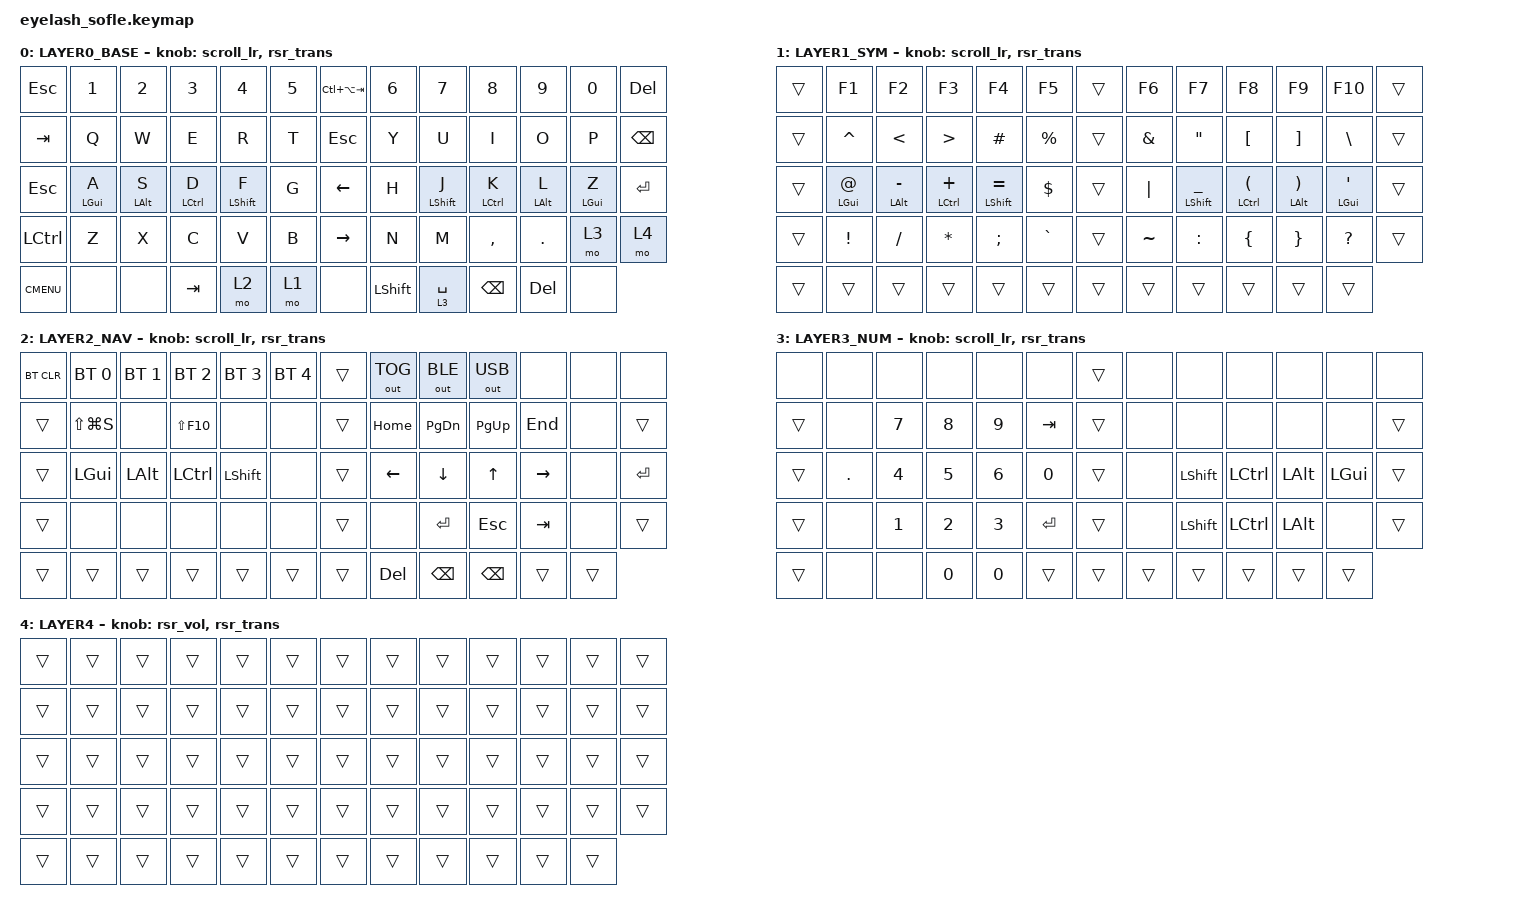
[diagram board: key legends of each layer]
#define ZMK_POINTING_DEFAULT_MOVE_VAL 1200  // 600
#define ZMK_POINTING_DEFAULT_SCRL_VAL 25   // 10

#include <input/processors.dtsi>
#include <zephyr/dt-bindings/input/input-event-codes.h>
#include <behaviors.dtsi>
#include <behaviors/runtime-sensor-rotate.dtsi>
#include <dt-bindings/zmk/bt.h>
#include <dt-bindings/zmk/keys.h>
#include <dt-bindings/zmk/outputs.h>
#include <dt-bindings/zmk/pointing.h>
#include <dt-bindings/zmk/rgb.h>

&mmv_input_listener { input-processors = <&zip_xy_scaler 2 1>; };

&msc_input_listener { input-processors = <&zip_scroll_scaler 2 1>; };

&msc {
    acceleration-exponent = <1>;      // 0
    time-to-max-speed-ms = <100>;       // 300
    delay-ms = <0>;                   // 0
};

&mmv {
    time-to-max-speed-ms = <500>;
    acceleration-exponent = <1>;
    trigger-period-ms = <16>;
};

&soft_off { hold-time-ms = <2000>; };

&mt {
    flavor = "tap-preferred";
    tapping-term-ms = <175>;
};

&lt {
    flavor = "tap-preferred";
    tapping-term-ms = <175>;
};

/ {
    scroll_encoder: scroll_encoder {
        compatible = "zmk,behavior-sensor-rotate";
        #sensor-binding-cells = <0>;
        bindings = <&msc SCRL_DOWN>, <&msc SCRL_UP>;

        tap-ms = <100>;
    };

    behaviors {
        rsr_vol: rsr_vol {
            compatible = "zmk,behavior-runtime-sensor-rotate";
            #sensor-binding-cells = <0>;
            tap-ms = <5>;
            cw-binding = <&kp C_VOL_UP>;
            ccw-binding = <&kp C_VOL_DN>;
        };

        rsr_trans: rsr_trans {
            compatible = "zmk,behavior-runtime-sensor-rotate";
            #sensor-binding-cells = <0>;
            tap-ms = <0>;
        };

        scroll_lr: scroll_lr {
        compatible = "zmk,behavior-sensor-rotate";
        #sensor-binding-cells = <0>;
        bindings = <&msc SCRL_RIGHT>, <&msc SCRL_LEFT>;
        };

        scroll_ud: scroll_ud {
        compatible = "zmk,behavior-sensor-rotate";
        #sensor-binding-cells = <0>;
        bindings = <&msc SCRL_UP>, <&msc SCRL_DOWN>;
        };
    };

    combos {
        compatible = "zmk,combos";

        softoff {
            bindings = <&soft_off>;
            key-positions = <14 28 40>;
        };
    };

    macros {
        SHIFT_MCLK: SHIFT_MCLK {
            compatible = "zmk,behavior-macro";
            #binding-cells = <0>;
            bindings =
                <&macro_press>,
                <&kp LEFT_SHIFT>,
                <&macro_press>,
                <&mkp MB3>,
                <&macro_pause_for_release>,
                <&macro_release>,
                <&kp LEFT_SHIFT &mkp MB3>;

            label = "SHIFT_MCLK";
        };
    };

    keymap {
        compatible = "zmk,keymap";

        layer0 {
            bindings = <
                &kp ESC      &kp N1      &kp N2      &kp N3       &kp N4        &kp N5  &kp LC(LA(TAB))    &kp N6      &kp N7        &kp N8       &kp N9      &kp N0      &kp DEL
                &kp TAB      &kp Q       &kp W       &kp E        &kp R         &kp T   &kp ESC            &kp Y       &kp U         &kp I        &kp O       &kp P       &kp BSPC
                &kp ESC      &mt LGUI A  &mt LALT S  &mt LCTRL D  &mt LSHIFT F  &kp G   &kp LEFT           &kp H       &mt LSHIFT J  &mt LCTRL K  &mt LALT L  &mt LGUI Z  &kp ENTER
                &kp LCTRL    &kp Z       &kp X       &kp C        &kp V         &kp B   &kp RIGHT          &kp N       &kp M         &kp COMMA   &kp PERIOD   &mo 3       &mo 4
                &kp K_CMENU  &none       &none       &kp TAB      &mo 2         &mo 1   &none              &kp LSHIFT  &lt 3 SPACE   &kp BSPC     &kp DEL     &none
            >;

            sensor-bindings = <&scroll_lr &rsr_trans>;
            display-name = "LAYER0_BASE";
        };


        layer_1 {
            bindings = <
                &trans  &kp F1       &kp F2          &kp F3          &kp F4            &kp F5     &trans    &kp F6     &kp F7            &kp F8          &kp F9         &kp F10       &trans
                &trans  &kp CARET    &kp LT          &kp GT          &kp HASH          &kp PRCNT  &trans    &kp AMPS   &kp DQT           &kp LBKT        &kp RBKT       &kp BSLH      &trans
                &trans  &mt LGUI AT  &mt LALT MINUS  &mt LCTRL PLUS  &mt LSHIFT EQUAL  &kp DLLR   &trans    &kp PIPE   &mt LSHIFT UNDER  &mt LCTRL LPAR  &mt LALT RPAR  &mt LGUI SQT  &trans
                &trans  &kp EXCL     &kp SLASH       &kp ASTRK       &kp SEMI          &kp GRAVE  &trans    &kp TILDE  &kp COLON         &kp LBRC        &kp RBRC       &kp QMARK     &trans
                &trans  &trans       &trans          &trans          &trans            &trans     &trans    &trans     &trans            &trans          &trans         &trans
            >;

            sensor-bindings = <&scroll_lr &rsr_trans>;
            display-name = "LAYER1_SYM";
        };

        layer_2 {
            bindings = <
                &bt BT_CLR  &bt BT_SEL 0   &bt BT_SEL 1  &bt BT_SEL 2  &bt BT_SEL 3  &bt BT_SEL 4  &trans    &out OUT_TOG  &out OUT_BLE  &out OUT_USB  &none      &none   &none
                &trans      &kp LS(LG(S))  &none         &kp LS(F10)   &none         &none         &trans    &kp HOME      &kp PG_DN     &kp PG_UP     &kp END    &none   &trans
                &trans      &kp LGUI       &kp LALT      &kp LCTRL     &kp LSHIFT    &none         &trans    &kp LEFT      &kp DOWN      &kp UP        &kp RIGHT  &none   &kp ENTER
                &trans      &none          &none         &none         &none         &none         &trans    &none         &kp ENTER     &kp ESC       &kp TAB    &none   &trans
                &trans      &trans         &trans        &trans        &trans        &trans        &trans    &kp DEL       &kp BSPC      &kp BSPC      &trans     &trans
            >;

            sensor-bindings = <&scroll_lr &rsr_trans>;
            display-name = "LAYER2_NAV";
        };

        layer_3 {
            bindings = <
                &none   &none       &none   &none   &none   &none      &trans    &none   &none       &none       &none     &none     &none
                &trans  &none       &kp N7  &kp N8  &kp N9  &kp TAB    &trans    &none   &none       &none       &none     &none     &trans
                &trans  &kp PERIOD  &kp N4  &kp N5  &kp N6  &kp N0     &trans    &none   &kp LSHIFT  &kp LCTRL  &kp LALT  &kp LGUI  &trans
                &trans  &none       &kp N1  &kp N2  &kp N3  &kp ENTER  &trans    &none   &kp LSHIFT  &kp LCTRL  &kp LALT  &none     &trans
                &trans  &none       &none   &kp N0  &kp N0  &trans     &trans    &trans  &trans      &trans      &trans    &trans
            >;

            sensor-bindings = <&scroll_lr &rsr_trans>;
            display-name = "LAYER3_NUM";
        };


        layer_4 {
            bindings = <
&trans  &trans  &trans  &trans  &trans  &trans    &trans  &trans  &trans  &trans  &trans  &trans  &trans
&trans  &trans  &trans  &trans  &trans  &trans    &trans  &trans  &trans  &trans  &trans  &trans  &trans
&trans  &trans  &trans  &trans  &trans  &trans    &trans  &trans  &trans  &trans  &trans  &trans  &trans
&trans  &trans  &trans  &trans  &trans  &trans    &trans  &trans  &trans  &trans  &trans  &trans  &trans
&trans  &trans  &trans  &trans  &trans  &trans    &trans  &trans  &trans  &trans  &trans  &trans
            >;

            display-name = "LAYER4";
            sensor-bindings = <&rsr_vol &rsr_trans>;
        };
    };
};
